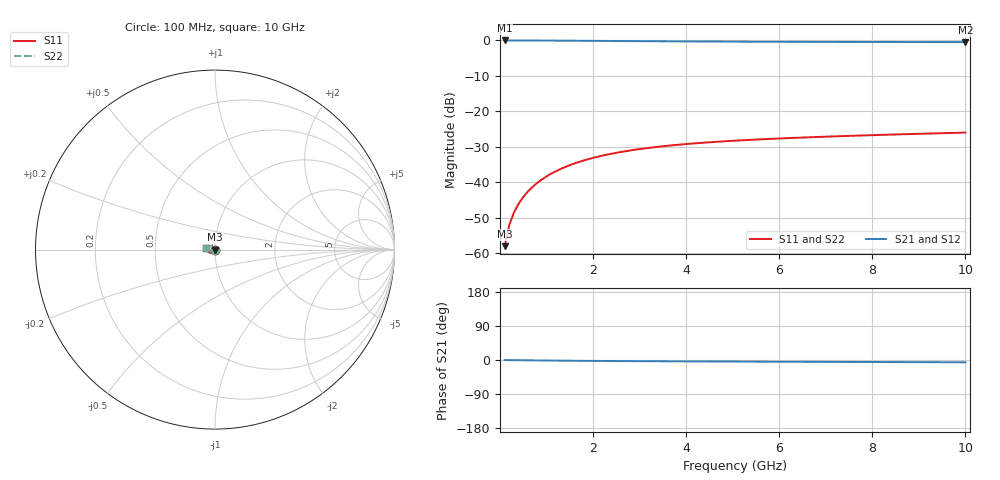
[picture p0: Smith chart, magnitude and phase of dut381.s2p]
! Touchstone file exported from HFSS 2024.1.0
!  File:  C:/UserFiles/LocalFiles/RDL_TSV_Batchsim/temp_TSV1_381_1779622978.aedt
!  Generated:  07:48:29 PM May 24, 2026
!  Design:  TSV1
!  Project:  temp_TSV1_381_1779622978
!  Setup:  Setup1
!  Solution:  Sweep
! Variables:
!  dtsv = 9.1um
!  hbump = 3um
!  htsv = 95.04um
!  lrdl = 252.1521522um
!  p = 40
!  p1 = 53.27um
!  t = 500um
!  trdl = 3um
!  wrdl = 24.89489489um
# GHz S MA R 50.000000
! Terminal data exported
! Port[1] = TSV22_T1
! Port[2] = TSV22_T2
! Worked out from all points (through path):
!   100 points, 100 MHz to 10 GHz, reference 50 ohm
!   highest |S21| = 0.00 dB at 100 MHz (marker M1); lowest = -0.5 dB at 10 GHz (marker M2)
!   lowest |S11| = -58.0 dB at 100 MHz (marker M3), VSWR 1.00, Z = 50 - j0.125 ohm
!   |S11| at or under -10 dB: start of sweep to end of sweep
!   |S22| runs from -58.0 to -26.0 dB; largest |S21 - S12| = 4e-15
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0.1  0.001257 -83.0  0.9998 -0.1  0.9998 -0.1  0.001257 -83.0
! Gamma 0 0 0 0
! Port Impedance 50 0 50 0
0.2  0.002493 -89.2  0.9996 -0.3  0.9996 -0.3  0.002493 -89.2
0.3  0.003733 -92.6  0.9994 -0.4  0.9994 -0.4  0.003733 -92.6
0.4  0.004969 -95.2  0.9991 -0.6  0.9991 -0.6  0.004969 -95.2
0.5  0.006196 -97.6  0.9987 -0.7  0.9987 -0.7  0.006196 -97.6
0.6  0.007411 -99.8  0.9982 -0.8  0.9982 -0.8  0.007411 -99.8
0.7  0.008611 -102.0  0.9977 -1.0  0.9977 -1.0  0.008611 -102.0
0.8  0.009792 -104.0  0.9971 -1.1  0.9971 -1.1  0.009792 -104.0
0.9  0.01095 -106.0  0.9965 -1.2  0.9965 -1.2  0.01095 -106.0
1.1  0.01321 -109.9  0.995 -1.5  0.995 -1.5  0.01321 -109.9
1.4  0.01641 -115.4  0.9925 -1.8  0.9925 -1.8  0.01641 -115.4
1.6  0.01841 -118.9  0.9906 -2.0  0.9906 -2.0  0.01841 -118.9
1.8  0.0203 -122.3  0.9887 -2.2  0.9887 -2.2  0.0203 -122.3
2.1  0.02292 -127.1  0.9857 -2.5  0.9857 -2.5  0.02292 -127.1
2.5  0.02604 -133.0  0.9818 -2.8  0.9818 -2.8  0.02604 -133.0
2.9  0.02876 -138.5  0.978 -3.1  0.978 -3.1  0.02876 -138.5
3.4  0.03167 -144.8  0.9737 -3.4  0.9737 -3.4  0.03168 -144.8
4.2  0.03545 -153.5  0.9677 -3.8  0.9677 -3.8  0.03545 -153.5
5.1  0.03877 -162.0  0.9623 -4.1  0.9623 -4.1  0.03877 -162.0
6.7  0.04325 -174.3  0.9555 -4.8  0.9555 -4.8  0.04325 -174.3
8.4  0.04702 175.2  0.9507 -5.4  0.9507 -5.4  0.04702 175.2
10  0.0502 166.9  0.9477 -6.1  0.9477 -6.1  0.0502 166.9
